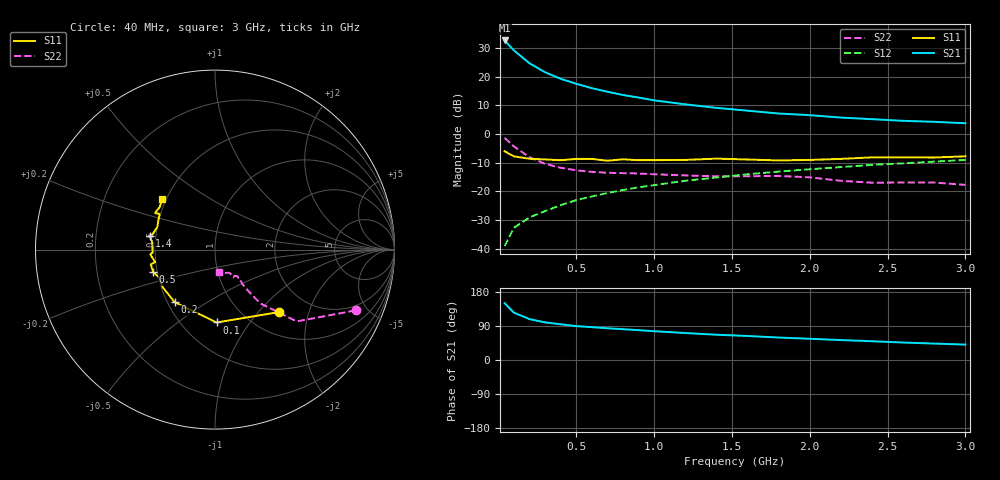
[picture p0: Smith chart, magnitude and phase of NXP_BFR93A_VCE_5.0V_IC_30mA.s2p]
! Filename:  BFR93AD.S2P  Version:  2.0
! NXP part #: BFR93A  Date: May 1990
! Bias condition: Vce=5V, Ic=30mA
#  MHz  S  MA  R  50
! Freq  S11  S21  S12  S22  !GUM [dB]
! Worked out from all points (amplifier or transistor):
!   21 points, 40 MHz to 3 GHz, reference 50 ohm
!   highest |S21| = 32.6 dB at 40 MHz (marker M1)
!   |S21| within 3 dB of that: start of sweep to 91.47 MHz
!   unconditionally stable (mu >= 1): 645.8 MHz to 2.847 GHz
!   at 300 MHz: K = 0.90, MSG = 24.2 dB, |S12| = -26.9 dB
!   at 1 GHz: K = 1.04, MAG = 13.6 dB, |S12| = -17.9 dB
!   at 3 GHz: K = 0.99, MSG = 6.4 dB, |S12| = -9.1 dB
!   S11 on the Smith chart (normalised r, x): 40 MHz: 1.41, -1.30; 100 MHz: 0.73, -0.71; 200 MHz: 0.54, -0.37; 500 MHz: 0.47, -0.14; 1.4 GHz: 0.46, +0.08; 3 GHz: 0.48, +0.32
40  0.499 -44.2  42.81 149.9  0.011 74.3  0.853 -23.4
100  0.406 -88.8  28.62 124.9  0.023 62.9  0.606 -41.3
200  0.369 -127.6  17.1 107.9  0.035 64.2  0.392 -49.9
300  0.359 -144.5  11.93 99.3  0.045 66.9  0.301 -51.1
400  0.348 -153.5  9.173 94.3  0.057 68.3  0.257 -51.5
500  0.367 -160.2  7.512 89.4  0.07 70.5  0.232 -50.9
600  0.367 -167.0  6.297 86.7  0.081 70.8  0.218 -50.7
700  0.341 -168.3  5.464 83.7  0.093 72.8  0.21 -50.7
800  0.361 -175.7  4.781 81.3  0.105 72.0  0.207 -49.9
900  0.348 -177.4  4.317 78.8  0.117 72.3  0.204 -50.4
1000  0.349 176.8  3.861 76.0  0.128 72.3  0.198 -49.9
1200  0.352 173.4  3.286 71.2  0.152 71.5  0.189 -50.8
1400  0.371 168.3  2.852 66.7  0.174 70.2  0.182 -53.4
1600  0.358 166.1  2.548 63.4  0.198 69.2  0.183 -54.4
1800  0.345 158.4  2.273 59.3  0.22 68.0  0.185 -56.0
2000  0.352 154.7  2.126 56.0  0.242 66.5  0.175 -56.0
2200  0.367 147.1  1.932 52.6  0.264 66.2  0.152 -58.2
2400  0.39 148.6  1.81 49.5  0.288 64.1  0.141 -67.2
2600  0.391 146.3  1.694 46.1  0.307 62.5  0.142 -74.4
2800  0.388 142.6  1.628 43.3  0.329 61.4  0.142 -78.4
3000  0.407 136.2  1.537 40.6  0.352 59.2  0.129 -80.1
